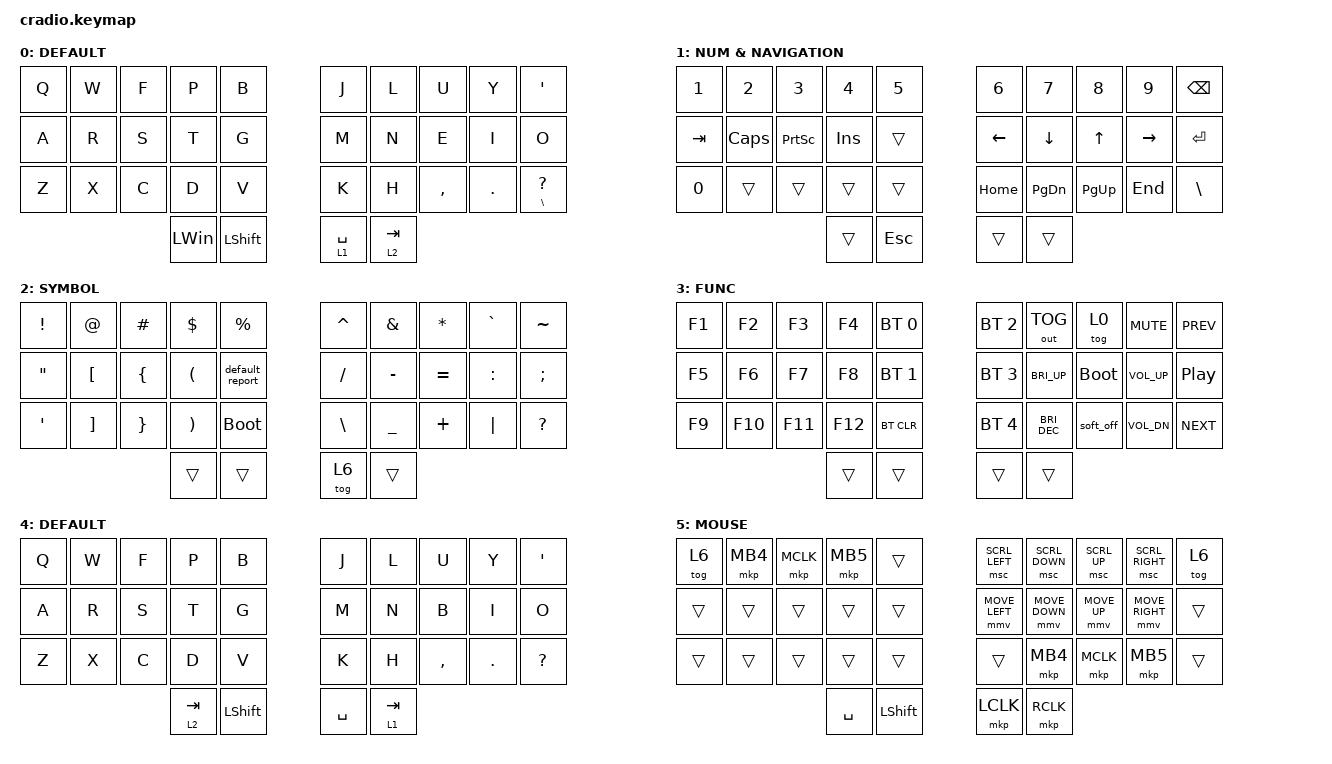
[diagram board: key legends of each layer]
// Copyright (c) 2022 The ZMK Contributors
// SPDX-License-Identifier: MIT

#define ZMK_POINTING_DEFAULT_MOVE_VAL 2500  // 600
#define ZMK_POINTING_DEFAULT_SCRL_VAL 20    // 10

#include <behaviors.dtsi>
#include <dt-bindings/zmk/bt.h>
#include <dt-bindings/zmk/keys.h>
#include <dt-bindings/zmk/outputs.h>
#include <dt-bindings/zmk/pointing.h>

#define MAC 0
#define WIN 1
#define RIG 2
#define LEF 3
#define TRI 4
#define MOUSE 5

// https://zmk.dev/docs/development/hardware-integration/soft-off-setup?advanced-methods=wakeup&kscan-type=dkscan

/ {
    keys {
        compatible = "gpio-keys";

        soft_off_gpio_key: soft_off_gpio_key { gpios = <&gpio1 6 (GPIO_ACTIVE_LOW | GPIO_PULL_UP)>; };
    };

    wakeup_scan: wakeup_scan {
        compatible = "zmk,kscan-gpio-direct";
        input-keys = <&soft_off_gpio_key>;
        wakeup-source;
    };

    side_band_behavior_triggers: side_band_behavior_triggers {
        compatible = "zmk,kscan-sideband-behaviors";
        kscan = <&wakeup_scan>;
        auto-enable;
        wakeup-source;
    };

    soft_off_wakers {
        compatible = "zmk,soft-off-wakeup-sources";
        wakeup-sources = <&wakeup_scan>;
    };
};

/ {
    chosen { zmk,charmap = &charmap_us; };

    behaviors {
        ht: hold_tap {
            label = "hold_tap";
            compatible = "zmk,behavior-hold-tap";
            #binding-cells = <2>;
            flavor = "tap-preferred";
            tapping-term-ms = <220>;
            quick-tap-ms = <150>;
            global-quick-tap;
            bindings = <&kp>, <&kp>;
        };

        mmv {
            acceleration-exponent = <1>;      // 1
            time-to-max-speed-ms = <300>;    // 40
            delay-ms = <0>;                   // 0
        };

        msc {
            acceleration-exponent = <0>;      // 0
            time-to-max-speed-ms = <40>;      // 500
            delay-ms = <0>;                   // 10
        };
    };

    conditional_layers {
        compatible = "zmk,conditional-layers";

        tri_layer {
            if-layers = <1 2>;
            then-layer = <3>;
        };
    };

    combos {
        compatible = "zmk,combos";

        settings {
            bindings = <&to 3>;
            key-positions = <30 33>;
            slow-release;
        };
    };

    keymap {
        compatible = "zmk,keymap";

        default_layer {
            display-name = "DEFAULT";
            bindings = <
&kp Q  &kp W  &kp F  &kp P         &kp B         &kp J        &kp L      &kp U      &kp Y    &kp SQT
&kp A  &kp R  &kp S  &kp T         &kp G         &kp M        &kp N      &kp E      &kp I    &kp O
&kp Z  &kp X  &kp C  &kp D         &kp V         &kp K        &kp H      &kp COMMA  &kp DOT  &mt BACKSLASH QUESTION
                     &kp LEFT_WIN  &kp LSHIFT    &lt 1 SPACE  &lt 2 TAB
            >;
        };

        right_layer {
            display-name = "NUM & NAVIGATION";
            bindings = <
&kp N1   &kp N2    &kp N3     &kp N4   &kp N5     &kp N6    &kp N7     &kp N8     &kp N9     &kp BACKSPACE
&kp TAB  &kp CAPS  &kp PSCRN  &kp INS  &trans     &kp LEFT  &kp DOWN   &kp UP     &kp RIGHT  &kp ENTER
&kp N0   &trans    &trans     &trans   &trans     &kp HOME  &kp PG_DN  &kp PG_UP  &kp END    &kp BACKSLASH
                              &trans   &kp ESC    &trans    &trans
            >;
        };

        left_layer {
            display-name = "SYMBOL";
            bindings = <
&kp EXCL  &kp AT    &kp HASH  &kp DLLR  &kp PRCNT          &kp CARET  &kp AMPS   &kp ASTRK  &kp GRAVE  &kp TILDE
&kp DQT   &kp LBKT  &kp LBRC  &kp LPAR  &default_report    &kp FSLH   &kp MINUS  &kp EQUAL  &kp COLON  &kp SEMI
&kp SQT   &kp RBKT  &kp RBRC  &kp RPAR  &bootloader        &kp BSLH   &kp UNDER  &kp PLUS   &kp PIPE   &kp QMARK
                              &trans    &trans             &tog 6     &trans
            >;
        };

        tri_layer {
            display-name = "FUNC";
            bindings = <
&kp F1  &kp F2   &kp F3   &kp F4   &bt BT_SEL 0    &bt BT_SEL 2  &out OUT_TOG   &tog 0       &kp C_MUTE    &kp C_PREV
&kp F5  &kp F6   &kp F7   &kp F8   &bt BT_SEL 1    &bt BT_SEL 3  &kp C_BRI_UP   &bootloader  &kp C_VOL_UP  &kp C_PP
&kp F9  &kp F10  &kp F11  &kp F12  &bt BT_CLR      &bt BT_SEL 4  &kp C_BRI_DEC  &soft_off    &kp C_VOL_DN  &kp C_NEXT
                          &trans   &trans          &trans        &trans
            >;
        };

        layer_6 {
            display-name = "DEFAULT";
            bindings = <
&kp Q  &kp W  &kp F  &kp P      &kp B         &kp J      &kp L      &kp U      &kp Y    &kp SQT
&kp A  &kp R  &kp S  &kp T      &kp G         &kp M      &kp N      &kp B      &kp I    &kp O
&kp Z  &kp X  &kp C  &kp D      &kp V         &kp K      &kp H      &kp COMMA  &kp DOT  &kp QUESTION
                     &lt 2 TAB  &kp LSHIFT    &kp SPACE  &lt 1 TAB
            >;
        };

        mouse {
            display-name = "MOUSE";
            bindings = <
&tog 6  &mkp MB4  &mkp MCLK  &mkp MB5   &trans        &msc SCRL_LEFT  &msc SCRL_DOWN  &msc SCRL_UP  &msc SCRL_RIGHT  &tog 6
&trans  &trans    &trans     &trans     &trans        &mmv MOVE_LEFT  &mmv MOVE_DOWN  &mmv MOVE_UP  &mmv MOVE_RIGHT  &trans
&trans  &trans    &trans     &trans     &trans        &trans          &mkp MB4        &mkp MCLK     &mkp MB5         &trans
                             &kp SPACE  &kp LSHIFT    &mkp LCLK       &mkp RCLK
            >;
        };
    };
};
